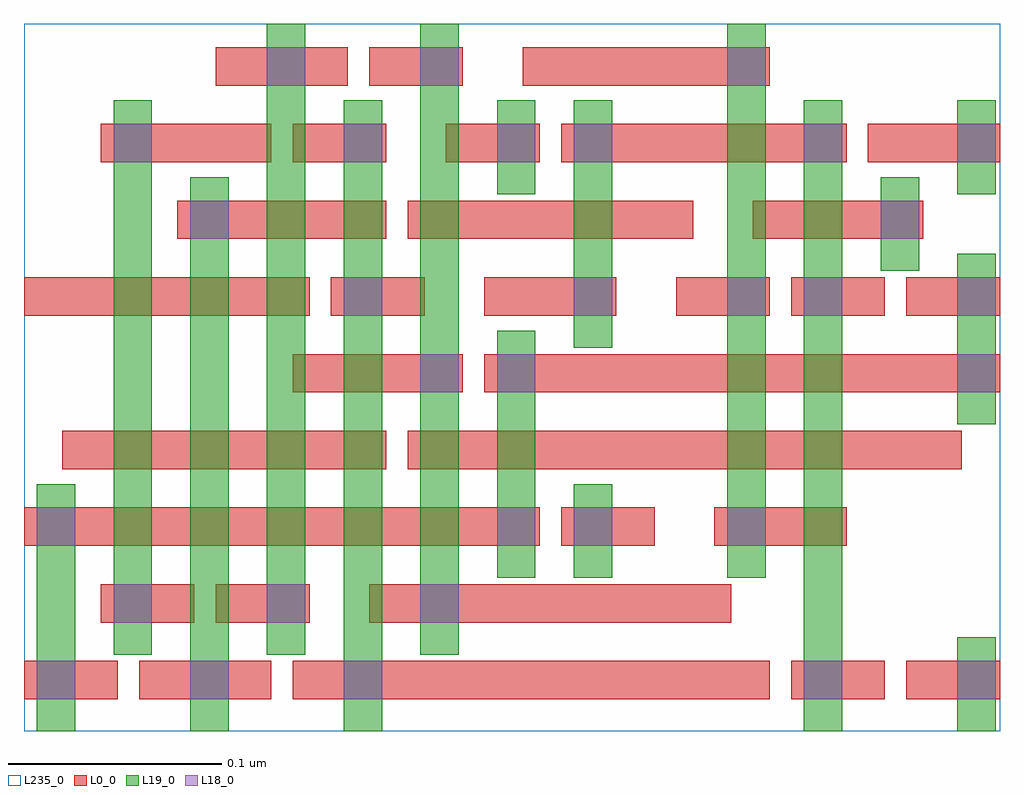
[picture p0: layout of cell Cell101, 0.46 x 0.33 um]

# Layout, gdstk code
import gdstk
lib = gdstk.Library(unit=1e-6, precision=2.5e-10)
def R(c, l, rs):  # rectangles x0, y0, x1, y1
    for r in rs: c.add(gdstk.rectangle(r[:2], r[2:], *l))
def A(c, l, x, y, w, h, nx, ny, dx, dy):  # array of equal rectangles
    R(c, l, [(x+i*dx, y+j*dy, x+i*dx+w, y+j*dy+h) for i in range(nx) for j in range(ny)])
L0_0 = (0, 0)
L18_0 = (18, 0)
L19_0 = (19, 0)
L235_0 = (235, 0)

cell101 = lib.new_cell('Cell101')
A(cell101, L0_0, 0.31, 0.179, 0.044, 0.018, 3, 1, 0.054, 0)
R(cell101, L0_0, [(0.004,-0.001,0.048,0.017), (0.058,-0.001,0.12,0.017), (0.13,-0.001,0.354,0.017), (0.364,-0.001,0.408,0.017), (0.418,-0.001,0.462,0.017), (0.04,0.035,0.084,0.053), (0.094,0.035,0.138,0.053), (0.166,0.035,0.336,0.053), (0.004,0.071,0.246,0.089), (0.256,0.071,0.3,0.089), (0.328,0.071,0.39,0.089), (0.022,0.107,0.174,0.125), (0.184,0.107,0.444,0.125), (0.13,0.143,0.21,0.161), (0.22,0.143,0.462,0.161), (0.004,0.179,0.138,0.197), (0.148,0.179,0.192,0.197), (0.22,0.179,0.282,0.197), (0.076,0.215,0.174,0.233), (0.184,0.215,0.318,0.233), (0.346,0.215,0.426,0.233), (0.04,0.251,0.12,0.269), (0.13,0.251,0.174,0.269), (0.202,0.251,0.246,0.269), (0.256,0.251,0.39,0.269), (0.4,0.251,0.462,0.269), (0.094,0.287,0.156,0.305), (0.166,0.287,0.21,0.305), (0.238,0.287,0.354,0.305)])
A(cell101, L18_0, 0.01, -0.001, 0.018, 0.018, 3, 1, 0.072, 0)
A(cell101, L18_0, 0.046, 0.035, 0.018, 0.018, 3, 1, 0.072, 0)
A(cell101, L18_0, 0.334, 0.071, 0.018, 0.018, 1, 3, 0, 0.108)
R(cell101, L18_0, [(0.37,-0.001,0.388,0.017), (0.442,-0.001,0.46,0.017), (0.01,0.071,0.028,0.089), (0.226,0.071,0.244,0.089), (0.262,0.071,0.28,0.089), (0.19,0.143,0.208,0.161), (0.226,0.143,0.244,0.161), (0.442,0.143,0.46,0.161), (0.154,0.179,0.172,0.197), (0.262,0.179,0.28,0.197), (0.37,0.179,0.388,0.197), (0.442,0.179,0.46,0.197), (0.082,0.215,0.1,0.233), (0.406,0.215,0.424,0.233), (0.046,0.251,0.064,0.269), (0.154,0.251,0.172,0.269), (0.226,0.251,0.244,0.269), (0.262,0.251,0.28,0.269), (0.37,0.251,0.388,0.269), (0.442,0.251,0.46,0.269), (0.118,0.287,0.136,0.305), (0.19,0.287,0.208,0.305)])
R(cell101, L19_0, [(0.01,-0.016,0.028,0.1), (0.082,-0.016,0.1,0.244), (0.154,-0.016,0.172,0.28), (0.37,-0.016,0.388,0.28), (0.442,-0.016,0.46,0.028), (0.046,0.02,0.064,0.28), (0.118,0.02,0.136,0.316), (0.19,0.02,0.208,0.316), (0.226,0.056,0.244,0.172), (0.262,0.056,0.28,0.1), (0.334,0.056,0.352,0.316), (0.442,0.128,0.46,0.208), (0.262,0.164,0.28,0.28), (0.406,0.2,0.424,0.244), (0.226,0.236,0.244,0.28), (0.442,0.236,0.46,0.28)])
R(cell101, L235_0, [(0.004,-0.016,0.462,0.316)])

lib.write_gds('Cell101.gds')
